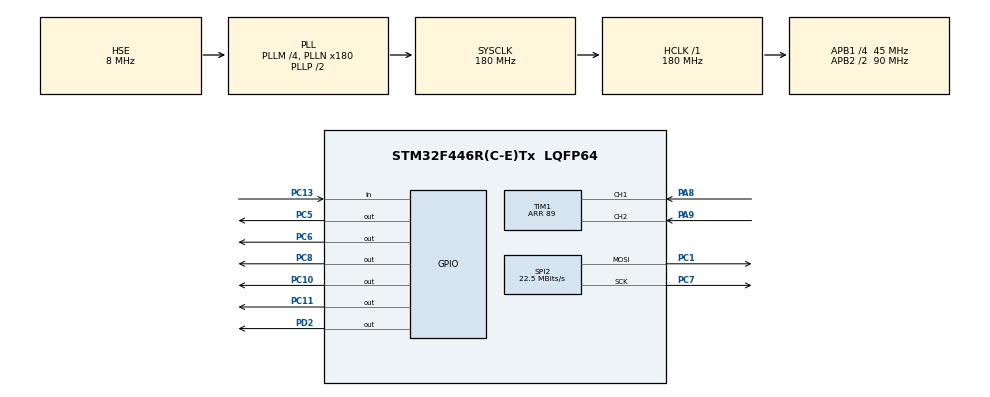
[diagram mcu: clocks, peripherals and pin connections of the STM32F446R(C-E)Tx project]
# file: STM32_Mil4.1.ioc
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Dma.Request0=SPI2_TX
Dma.SPI2_TX.0.Direction=DMA_MEMORY_TO_PERIPH
Dma.SPI2_TX.0.FIFOMode=DMA_FIFOMODE_DISABLE
Dma.SPI2_TX.0.Instance=DMA1_Stream4
Dma.SPI2_TX.0.MemDataAlignment=DMA_MDATAALIGN_HALFWORD
Dma.SPI2_TX.0.MemInc=DMA_MINC_ENABLE
Dma.SPI2_TX.0.Mode=DMA_NORMAL
Dma.SPI2_TX.0.PeriphDataAlignment=DMA_PDATAALIGN_HALFWORD
Dma.SPI2_TX.0.PeriphInc=DMA_PINC_DISABLE
Dma.SPI2_TX.0.Priority=DMA_PRIORITY_MEDIUM
Mcu.Family=STM32F4
Mcu.Name=STM32F446R(C-E)Tx
Mcu.Package=LQFP64
NVIC.DMA1_Stream4_IRQn=true\:0\:0\:false\:false\:true\:false\:true\:true
NVIC.PriorityGroup=NVIC_PRIORITYGROUP_4
NVIC.TIM1_CC_IRQn=true\:0\:0\:false\:false\:true\:true\:true\:true
PA13.Mode=Trace_Asynchronous_SW
PA13.Signal=SYS_JTMS-SWDIO
PA14.Mode=Trace_Asynchronous_SW
PA14.Signal=SYS_JTCK-SWCLK
PA8.GPIO_PuPd=GPIO_PULLUP
PA8.Signal=S_TIM1_CH1
PA9.GPIO_PuPd=GPIO_PULLUP
PA9.Signal=S_TIM1_CH2
PB3.Mode=Trace_Asynchronous_SW
PB3.Signal=SYS_JTDO-SWO
PC1.Mode=TX_Only_Simplex_Unidirect_Master
PC1.Signal=SPI2_MOSI
PC10.GPIO_Speed=GPIO_SPEED_FREQ_VERY_HIGH
PC10.Signal=GPIO_Output
PC11.GPIO_Speed=GPIO_SPEED_FREQ_VERY_HIGH
PC11.Signal=GPIO_Output
PC13.Signal=GPIO_Input
PC5.GPIO_Speed=GPIO_SPEED_FREQ_VERY_HIGH
PC5.Signal=GPIO_Output
PC6.GPIO_Speed=GPIO_SPEED_FREQ_VERY_HIGH
PC6.Signal=GPIO_Output
PC7.Mode=TX_Only_Simplex_Unidirect_Master
PC7.Signal=SPI2_SCK
PC8.Signal=GPIO_Output
PD2.GPIO_Speed=GPIO_SPEED_FREQ_VERY_HIGH
PD2.Signal=GPIO_Output
PH0-OSC_IN.Mode=HSE-External-Clock-Source
PH0-OSC_IN.Signal=RCC_OSC_IN
PH1-OSC_OUT.Mode=HSE-External-Clock-Source
PH1-OSC_OUT.Signal=RCC_OSC_OUT
ProjectManager.HeapSize=0x200
ProjectManager.StackSize=0x400
ProjectManager.TargetToolchain=STM32CubeIDE
RCC.AHBFreq_Value=180000000
RCC.APB1CLKDivider=RCC_HCLK_DIV4
RCC.APB1Freq_Value=45000000
RCC.APB1TimFreq_Value=90000000
RCC.APB2CLKDivider=RCC_HCLK_DIV2
RCC.APB2Freq_Value=90000000
RCC.APB2TimFreq_Value=180000000
RCC.CortexFreq_Value=180000000
RCC.HCLKFreq_Value=180000000
RCC.HSE_VALUE=8000000
RCC.PLLM=4
RCC.PLLN=180
RCC.PLLSourceVirtual=RCC_PLLSOURCE_HSE
RCC.SYSCLKFreq_VALUE=180000000
RCC.SYSCLKSource=RCC_SYSCLKSOURCE_PLLCLK
RCC.USBFreq_Value=180000000
RCC.VCOOutputFreq_Value=360000000
SH.S_TIM1_CH1.0=TIM1_CH1,Input_Capture1_from_TI1
SH.S_TIM1_CH2.0=TIM1_CH2,Input_Capture2_from_TI2
SPI2.BaudRatePrescaler=SPI_BAUDRATEPRESCALER_2
SPI2.CalculateBaudRate=22.5 MBits/s
SPI2.DataSize=SPI_DATASIZE_16BIT
SPI2.Direction=SPI_DIRECTION_2LINES
SPI2.Mode=SPI_MODE_MASTER
SPI2.VirtualType=VM_MASTER
TIM1.AutoReloadPreload=TIM_AUTORELOAD_PRELOAD_DISABLE
TIM1.Channel-Input_Capture1_from_TI1=TIM_CHANNEL_1
TIM1.Channel-Input_Capture2_from_TI2=TIM_CHANNEL_2
TIM1.ICPolarity_CH1=TIM_INPUTCHANNELPOLARITY_BOTHEDGE
TIM1.ICPolarity_CH2=TIM_INPUTCHANNELPOLARITY_BOTHEDGE
TIM1.Period=89
TIM2.Period=44
TIM2.Prescaler=0
VP_TIM1_VS_ClockSourceINT.Mode=Internal
VP_TIM2_VS_ClockSourceINT.Mode=Internal
board=custom

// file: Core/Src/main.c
/* USER CODE BEGIN Header */
/**
  ******************************************************************************
  * @file           : main.c
  * @brief          : Main program body
  ******************************************************************************
  * @attention
  *
  * Copyright (c) 2024 STMicroelectronics.
  * All rights reserved.
  *
  * This software is licensed under terms that can be found in the LICENSE file
  * in the root directory of this software component.
  * If no LICENSE file comes with this software, it is provided AS-IS.
  *
  ******************************************************************************
  */
/* USER CODE END Header */
#include "main.h"

/* USER CODE BEGIN Includes */
#include <stdio.h>
#include "stm32f446xx.h"
#include "Driver_1553.h"
#include "LCD_driver.h"
#include <string.h>
#include <stdlib.h>
#include <stdbool.h>

/* USER CODE END Includes */

/* USER CODE BEGIN PTD */
#define count 10000

/* USER CODE END PTD */

SPI_HandleTypeDef hspi2;
DMA_HandleTypeDef hdma_spi2_tx;

TIM_HandleTypeDef htim1;
TIM_HandleTypeDef htim2;

/* USER CODE BEGIN PV */
MIL_Error *MIL_Error_;
MIL_Handle_struc *mil_handle_struct;
MIL_Command_Word *mil_command_word;
MIL_Data_Word *mil_data_word;
MIL_Response_Word *mil_response_word;
MIL_Config_Device *mil_config_device;

uint8_t virtTact = 1;
uint16_t encodeTimerCnt = 1;
uint8_t TEST[32] = {
		0b01010111, 0b11111110, 2, 3, 4, 5, 6, 7, 8, 9, 10,
    1, 2, 3, 4, 5, 6, 7, 8, 9, 10,
    0, 1, 2, 3, 4, 5, 6, 7, 8, 9, 10
};
uint8_t change_chenel = 0;

uint8_t RX_data_SPI[40];
bool flag;
bool flag123 = 0;
uint32_t counter_bit_capture = 0;
uint32_t num_byte = 0;
uint8_t logic_decode_start = 0;

uint8_t* array_receive1 = (uint32_t*)0x2001C000UL;
uint32_t* size_mss;
/* USER CODE END PV */

void SystemClock_Config(void);
static void MX_GPIO_Init(void);
static void MX_DMA_Init(void);
static void MX_TIM2_Init(void);
static void MX_SPI2_Init(void);
static void MX_TIM1_Init(void);

/* USER CODE BEGIN 0 */
void MIL_Init_Struct()
{
	uint32_t *mil_command_word_ptr;
	uint32_t *mil_data_word_ptr;
	uint32_t *mil_response_word_ptr;
	uint32_t *mil_config_device_ptr;
	mil_handle_struct = malloc(sizeof(MIL_Handle_struc));
	mil_command_word = malloc(sizeof(MIL_Command_Word));
	mil_data_word = malloc(sizeof(MIL_Data_Word));
	mil_response_word = malloc(sizeof(MIL_Response_Word));
	mil_config_device = malloc(sizeof(MIL_Config_Device));

	mil_command_word_ptr =(uint32_t*)mil_command_word;
	mil_data_word_ptr = (uint32_t*)mil_data_word;
	mil_response_word_ptr = (uint32_t*)mil_response_word;
	mil_config_device_ptr = (uint32_t*)mil_config_device;

	MIL_Error_ =  malloc(sizeof(MIL_Error));

	MIL_Error_->Message = 0;
	MIL_Error_->Error = 0;

	/*init MIL_Handle_struc Begin*/
	for( uint8_t i = 0; i < 20 ; i++)
	{
		mil_handle_struct->MIL_RegDef_struct.command_word[i] = 0;
	}

	for( uint8_t i = 0; i < 40 ; i++)
	{
		mil_handle_struct->command_word_manch[i] = 0;
	}

	for( uint8_t i = 0; i < 170 ; i++)
	{
		mil_handle_struct->array_receive_bit[i] = 0;
	}

	for(uint16_t i = 0; i < 1300 ; i++)
	{
		mil_handle_struct->array_receive_byte[i] = 0;
	}

	for(uint8_t t = 0; t < 31 ; t++)
	{
		for(uint8_t i = 0; i < 17 ; i++)
		{
			mil_handle_struct->decoder_array[t][i] = 0;
		}
	}

	for( uint8_t i = 0; i < 31 ; i++)
	{
		mil_handle_struct->data_complit[i] = 0;
	}

	for(uint8_t t = 0; t < 31 ; t++)
	{
		for(uint8_t i = 0; i < 20 ; i++)
		{
			mil_handle_struct->coder_array[t][i] = 0;
		}
	}

	mil_handle_struct->cnt_bit = 0;
	mil_handle_struct->data_word = 0;

	/*init MIL_Handle_struc End */

	/*init MIL_Command_Word Begin*/

	for( uint8_t i = 0; i < 20 ; i++)
	{
		*(mil_command_word_ptr + i) = 0;
	}

	/*init MIL_Command_Word End*/

	/*init MIL_Data_Word Begin*/

	for( uint8_t i = 0; i < 20 ; i++)
	{
		*(mil_data_word_ptr + i) = 0;
	}

	/*init MIL_Data_Word End*/

	/*init MIL_Response_Word Begin*/

	for( uint8_t i = 0; i < 20 ; i++)
	{
		*(mil_response_word_ptr + i) = 0;
	}

	/*init MIL_Response_Word End*/

//	switch(type_device) {

//	case (FINAL_DEVICE):

//	}

	 mil_handle_struct->flag_sync_c_RX = false;
	 mil_handle_struct->flag_sync_c_TX = false;
	 mil_handle_struct->flag_sync_d_RX = false;
	 mil_handle_struct->flag_sync_d_TX = false;

	 mil_command_word->addr_rt[0] = 0b0;
	 mil_command_word->addr_rt[1] = 0b0;
	 mil_command_word->addr_rt[2] = 0b0;
	 mil_command_word->addr_rt[3] = 0b1;
	 mil_command_word->addr_rt[4] = 0b0;
	 mil_command_word->wr = 1;
	 mil_command_word->subaddr_cl[0] = 0b0;
	 mil_command_word->subaddr_cl[1] = 0b0;
	 mil_command_word->subaddr_cl[2] = 0b1;
	 mil_command_word->subaddr_cl[3] = 0b1;
	 mil_command_word->subaddr_cl[4] = 0b1;
	 mil_command_word->n_com[0] = 0b0;
	 mil_command_word->n_com[1] = 0b1;
	 mil_command_word->n_com[2] = 0b1;
	 mil_command_word->n_com[3] = 0b1;
	 mil_command_word->n_com[4] = 0b0;

}
void MIL_ChangeMassege(MIL_Handle_struc *MIL_Addr, const uint8_t *pData)
{
	for(uint8_t i = 0; i < 20; i++)
	{
		MIL_Addr->MIL_RegDef_struct.command_word[i] = *(pData + i);
	}

	MIL_Addr->flag_sync_c_TX = true;
//	ParityBit(MIL_Addr);
//	ManchesterEncode(MIL_Addr);

}
void SPI_SendData(SPI_HandleTypeDef* hspi2,uint8_t *pTxBuffer, uint32_t Len)
{
	SPI2->CR1 |= SPI_CR1_SPE;
	while(Len > 0)
	{
		//1. wait until TXE is set
		while(!(SPI2->SR & SPI_SR_TXE) )
		{

		}
			//8 bit DFF
		    SPI2->DR = *pTxBuffer;
			Len--;
			pTxBuffer++;
		while(SPI2->SR & SPI_SR_BSY);
	}

}
void SPI2_DMA_Transmit__(uint32_t size)
{
    /* Clear pending flag */
    DMA1->HIFCR = DMA_HIFCR_CTCIF4;

    DMA1_Stream4->CR |= (1 << 4);

    /* Set Peripheral Address to be SPI2->DR */
    DMA1_Stream4->PAR = (uint32_t)&SPI2->DR;

    /* Set Memory Address */
    DMA1_Stream4->M0AR = (uint32_t)&mil_handle_struct->data_complit;
//    DMA1_Stream4->M0AR = (uint32_t)&mil_handle_struct->array_receive[0];
//    DMA1_Stream4->M0AR = (uint32_t)&mil_handle_struct->array_receive[1];
    /* Set Number of Data to Transmit */
    DMA1_Stream4->NDTR = size;

//    DMA1_Stream4->CR &= ~(1 << 8);
    /* Configure the DMA Stream */
//    DMA1_Stream4->CR |= (1 << 18);
//    DMA1_Stream4->CR |= (1 << 0);
    /* Enable SPI2 DMA Request */
//    SPI2->CR2 |= SPI_CR2_TXDMAEN;

    SPI2->CR1 |= (1 << 6);

}

/* USER CODE END 0 */

int main(void)
{

  /* MCU Configuration--------------------------------------------------------*/

  /* Reset of all peripherals, Initializes the Flash interface and the Systick. */
  HAL_Init();

  /* Configure the system clock */
  SystemClock_Config();

  /* Initialize all configured peripherals */
  MX_GPIO_Init();
  MX_DMA_Init();
  MX_TIM2_Init();
  MX_SPI2_Init();
  MX_TIM1_Init();
  /* USER CODE BEGIN 2 */
  MIL_Init_Struct();

  HAL_TIM_Base_Start(&htim2);
  HAL_TIM_IC_Start_IT(&htim1, TIM_CHANNEL_1);
  HAL_TIM_IC_Start_IT(&htim1, TIM_CHANNEL_2);

  // Заполняем массив значениями 0 или 1

  MIL_Handlig_Tx_data(mil_handle_struct, mil_command_word ,TEST,0);
  SysTick->CTRL &= ~SysTick_CTRL_TICKINT_Msk;
  /* USER CODE END 2 */

  /* Infinite loop */
  /* USER CODE BEGIN WHILE */
  while (1)
  {
	  MIL_Transmit(mil_handle_struct);
	  for(uint32_t i = 0; i < 40000; i ++)
	  {
			while( !(TIM2->SR & TIM_SR_UIF) );
			TIM2->SR = 0;
	  }
	  /*
	  for(uint32_t i = 0; i < 39;i++)
	  {
		  printf(" %u", mil_handle_struct->array_receive[0][i]);
	  }
	  printf("\n");
	  for(uint32_t i = 0; i < 39;i++)
	  {
		  printf(" %u", mil_handle_struct->array_receive[1][i]);
	  }
	  printf("\n\n");
	  HAL_Delay(500);
*/
//	  SPI_SendData(&hspi2, init_values, 17);
    /*
	  lcd_display_clear();
	  lcd_send_command(LCD_CMD_DIS_RETURN_HOME);

	  for(uint8_t i = 0; i < 20 ;i++ )
	  {
		  lcd_print_char(mil_handle_struct->MIL_RegDef_struct.command_word[i]);
		  if(i == 15)
		  {
			  lcd_send_command(LCD_CMD_CURS_SECLINE);

		  }
	  }
	  lcd_send_command(LCD_CMD_INCADD);
	  lcd_send_command(LCD_CMD_INCADD);
	  lcd_print_char(RXdata);

	  HAL_Delay(500);
	  */
	  /*
	  if(!(GPIOC->IDR & (1 << 13)))
	  {
		  HAL_Delay(300);
		  flag ^= 1;
      }
	  if(flag)
	  {
		  MIL_ChangeMassege(mil_handle_struct,(uint8_t*)signal_changes_2);
	  }else{
    	  MIL_ChangeMassege(mil_handle_struct,(uint8_t*)signal_changes_1);
      }
	  MIL_Transmit(mil_handle_struct);
	  HAL_Delay(200);
*/

    /* USER CODE END WHILE */

  }
}

void SystemClock_Config(void)
{
  RCC_OscInitTypeDef RCC_OscInitStruct = {0};
  RCC_ClkInitTypeDef RCC_ClkInitStruct = {0};

  /** Configure the main internal regulator output voltage
  */
  __HAL_RCC_PWR_CLK_ENABLE();
  __HAL_PWR_VOLTAGESCALING_CONFIG(PWR_REGULATOR_VOLTAGE_SCALE1);

  /** Initializes the RCC Oscillators according to the specified parameters
  * in the RCC_OscInitTypeDef structure.
  */
  RCC_OscInitStruct.OscillatorType = RCC_OSCILLATORTYPE_HSE;
  RCC_OscInitStruct.HSEState = RCC_HSE_BYPASS;
  RCC_OscInitStruct.PLL.PLLState = RCC_PLL_ON;
  RCC_OscInitStruct.PLL.PLLSource = RCC_PLLSOURCE_HSE;
  RCC_OscInitStruct.PLL.PLLM = 4;
  RCC_OscInitStruct.PLL.PLLN = 180;
  RCC_OscInitStruct.PLL.PLLP = RCC_PLLP_DIV2;
  RCC_OscInitStruct.PLL.PLLQ = 2;
  RCC_OscInitStruct.PLL.PLLR = 2;
  if (HAL_RCC_OscConfig(&RCC_OscInitStruct) != HAL_OK)
  {
    Error_Handler();
  }

  /** Activate the Over-Drive mode
  */
  if (HAL_PWREx_EnableOverDrive() != HAL_OK)
  {
    Error_Handler();
  }

  /** Initializes the CPU, AHB and APB buses clocks
  */
  RCC_ClkInitStruct.ClockType = RCC_CLOCKTYPE_HCLK|RCC_CLOCKTYPE_SYSCLK
                              |RCC_CLOCKTYPE_PCLK1|RCC_CLOCKTYPE_PCLK2;
  RCC_ClkInitStruct.SYSCLKSource = RCC_SYSCLKSOURCE_PLLCLK;
  RCC_ClkInitStruct.AHBCLKDivider = RCC_SYSCLK_DIV1;
  RCC_ClkInitStruct.APB1CLKDivider = RCC_HCLK_DIV4;
  RCC_ClkInitStruct.APB2CLKDivider = RCC_HCLK_DIV2;

  if (HAL_RCC_ClockConfig(&RCC_ClkInitStruct, FLASH_LATENCY_5) != HAL_OK)
  {
    Error_Handler();
  }
}

static void MX_SPI2_Init(void)
{

  /* SPI2 parameter configuration*/
  hspi2.Instance = SPI2;
  hspi2.Init.Mode = SPI_MODE_MASTER;
  hspi2.Init.Direction = SPI_DIRECTION_2LINES;
  hspi2.Init.DataSize = SPI_DATASIZE_16BIT;
  hspi2.Init.CLKPolarity = SPI_POLARITY_LOW;
  hspi2.Init.CLKPhase = SPI_PHASE_1EDGE;
  hspi2.Init.NSS = SPI_NSS_SOFT;
  hspi2.Init.BaudRatePrescaler = SPI_BAUDRATEPRESCALER_2;
  hspi2.Init.FirstBit = SPI_FIRSTBIT_MSB;
  hspi2.Init.TIMode = SPI_TIMODE_DISABLE;
  hspi2.Init.CRCCalculation = SPI_CRCCALCULATION_DISABLE;
  hspi2.Init.CRCPolynomial = 10;
  if (HAL_SPI_Init(&hspi2) != HAL_OK)
  {
    Error_Handler();
  }

}

static void MX_TIM1_Init(void)
{

  TIM_ClockConfigTypeDef sClockSourceConfig = {0};
  TIM_MasterConfigTypeDef sMasterConfig = {0};
  TIM_IC_InitTypeDef sConfigIC = {0};

  htim1.Instance = TIM1;
  htim1.Init.Prescaler = 0;
  htim1.Init.CounterMode = TIM_COUNTERMODE_UP;
  htim1.Init.Period = 89;
  htim1.Init.ClockDivision = TIM_CLOCKDIVISION_DIV1;
  htim1.Init.RepetitionCounter = 0;
  htim1.Init.AutoReloadPreload = TIM_AUTORELOAD_PRELOAD_DISABLE;
  if (HAL_TIM_Base_Init(&htim1) != HAL_OK)
  {
    Error_Handler();
  }
  sClockSourceConfig.ClockSource = TIM_CLOCKSOURCE_INTERNAL;
  if (HAL_TIM_ConfigClockSource(&htim1, &sClockSourceConfig) != HAL_OK)
  {
    Error_Handler();
  }
  if (HAL_TIM_IC_Init(&htim1) != HAL_OK)
  {
    Error_Handler();
  }
  sMasterConfig.MasterOutputTrigger = TIM_TRGO_RESET;
  sMasterConfig.MasterSlaveMode = TIM_MASTERSLAVEMODE_DISABLE;
  if (HAL_TIMEx_MasterConfigSynchronization(&htim1, &sMasterConfig) != HAL_OK)
  {
    Error_Handler();
  }
  sConfigIC.ICPolarity = TIM_INPUTCHANNELPOLARITY_BOTHEDGE;
  sConfigIC.ICSelection = TIM_ICSELECTION_DIRECTTI;
  sConfigIC.ICPrescaler = TIM_ICPSC_DIV1;
  sConfigIC.ICFilter = 0;
  if (HAL_TIM_IC_ConfigChannel(&htim1, &sConfigIC, TIM_CHANNEL_1) != HAL_OK)
  {
    Error_Handler();
  }
  if (HAL_TIM_IC_ConfigChannel(&htim1, &sConfigIC, TIM_CHANNEL_2) != HAL_OK)
  {
    Error_Handler();
  }

}

static void MX_TIM2_Init(void)
{

  TIM_ClockConfigTypeDef sClockSourceConfig = {0};
  TIM_MasterConfigTypeDef sMasterConfig = {0};

  htim2.Instance = TIM2;
  htim2.Init.Prescaler = 0;
  htim2.Init.CounterMode = TIM_COUNTERMODE_UP;
  htim2.Init.Period = 44;
  htim2.Init.ClockDivision = TIM_CLOCKDIVISION_DIV1;
  htim2.Init.AutoReloadPreload = TIM_AUTORELOAD_PRELOAD_DISABLE;
  if (HAL_TIM_Base_Init(&htim2) != HAL_OK)
  {
    Error_Handler();
  }
  sClockSourceConfig.ClockSource = TIM_CLOCKSOURCE_INTERNAL;
  if (HAL_TIM_ConfigClockSource(&htim2, &sClockSourceConfig) != HAL_OK)
  {
    Error_Handler();
  }
  sMasterConfig.MasterOutputTrigger = TIM_TRGO_RESET;
  sMasterConfig.MasterSlaveMode = TIM_MASTERSLAVEMODE_DISABLE;
  if (HAL_TIMEx_MasterConfigSynchronization(&htim2, &sMasterConfig) != HAL_OK)
  {
    Error_Handler();
  }

}

static void MX_DMA_Init(void)
{

  /* DMA controller clock enable */
  __HAL_RCC_DMA1_CLK_ENABLE();

  /* DMA interrupt init */
  /* DMA1_Stream4_IRQn interrupt configuration */
  HAL_NVIC_SetPriority(DMA1_Stream4_IRQn, 0, 0);
  HAL_NVIC_EnableIRQ(DMA1_Stream4_IRQn);

}

static void MX_GPIO_Init(void)
{
  GPIO_InitTypeDef GPIO_InitStruct = {0};

  /* GPIO Ports Clock Enable */
  __HAL_RCC_GPIOC_CLK_ENABLE();
  __HAL_RCC_GPIOH_CLK_ENABLE();
  __HAL_RCC_GPIOA_CLK_ENABLE();
  __HAL_RCC_GPIOD_CLK_ENABLE();
  __HAL_RCC_GPIOB_CLK_ENABLE();

  /*Configure GPIO pin Output Level */
  HAL_GPIO_WritePin(GPIOC, GPIO_PIN_5|GPIO_PIN_6|GPIO_PIN_8|GPIO_PIN_10
                          |GPIO_PIN_11, GPIO_PIN_RESET);

  /*Configure GPIO pin Output Level */
  HAL_GPIO_WritePin(GPIOD, GPIO_PIN_2, GPIO_PIN_RESET);

  /*Configure GPIO pin : PC13 */
  GPIO_InitStruct.Pin = GPIO_PIN_13;
  GPIO_InitStruct.Mode = GPIO_MODE_INPUT;
  GPIO_InitStruct.Pull = GPIO_NOPULL;
  HAL_GPIO_Init(GPIOC, &GPIO_InitStruct);

  /*Configure GPIO pins : PC5 PC6 PC10 PC11 */
  GPIO_InitStruct.Pin = GPIO_PIN_5|GPIO_PIN_6|GPIO_PIN_10|GPIO_PIN_11;
  GPIO_InitStruct.Mode = GPIO_MODE_OUTPUT_PP;
  GPIO_InitStruct.Pull = GPIO_NOPULL;
  GPIO_InitStruct.Speed = GPIO_SPEED_FREQ_VERY_HIGH;
  HAL_GPIO_Init(GPIOC, &GPIO_InitStruct);

  /*Configure GPIO pin : PC8 */
  GPIO_InitStruct.Pin = GPIO_PIN_8;
  GPIO_InitStruct.Mode = GPIO_MODE_OUTPUT_PP;
  GPIO_InitStruct.Pull = GPIO_NOPULL;
  GPIO_InitStruct.Speed = GPIO_SPEED_FREQ_LOW;
  HAL_GPIO_Init(GPIOC, &GPIO_InitStruct);

  /*Configure GPIO pin : PD2 */
  GPIO_InitStruct.Pin = GPIO_PIN_2;
  GPIO_InitStruct.Mode = GPIO_MODE_OUTPUT_PP;
  GPIO_InitStruct.Pull = GPIO_NOPULL;
  GPIO_InitStruct.Speed = GPIO_SPEED_FREQ_VERY_HIGH;
  HAL_GPIO_Init(GPIOD, &GPIO_InitStruct);

}

void Error_Handler(void)
{
  __disable_irq();
  while (1)
  {
  }
}

#ifdef  USE_FULL_ASSERT
/**
  * @brief  Reports the name of the source file and the source line number
  *         where the assert_param error has occurred.
  * @param  file: pointer to the source file name
  * @param  line: assert_param error line source number
  * @retval None
  */
void assert_failed(uint8_t *file, uint32_t line)
{
  /* USER CODE BEGIN 6 */
	printf("Assertion failed: file %s on line %lu\n", file, line);
	  __disable_irq();
	  while (1)
	  {
	  }
  /* User can add his own implementation to report the file name and line number,
     ex: printf("Wrong parameters value: file %s on line %d\r\n", file, line) */
  /* USER CODE END 6 */
}
#endif /* USE_FULL_ASSERT */
